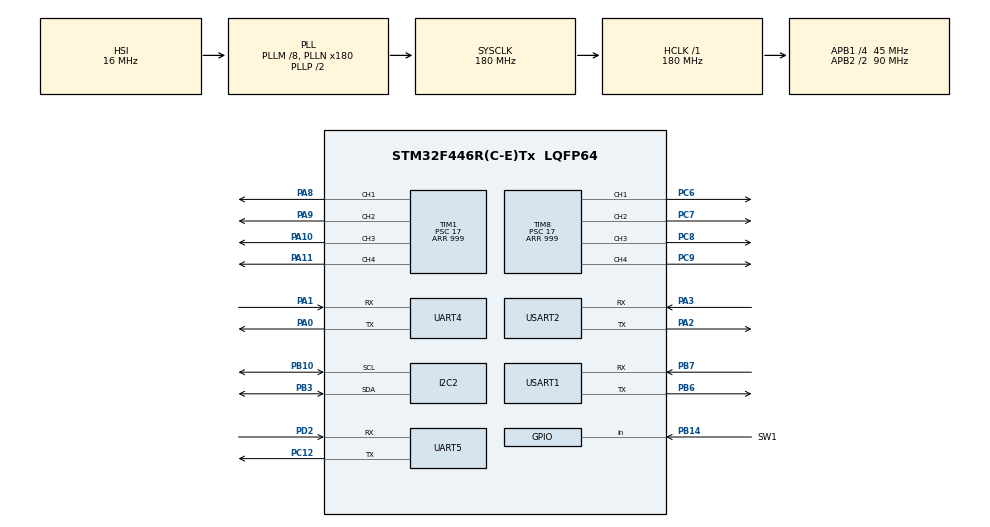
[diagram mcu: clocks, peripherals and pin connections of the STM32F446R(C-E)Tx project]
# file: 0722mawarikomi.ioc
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Mcu.Family=STM32F4
Mcu.Name=STM32F446R(C-E)Tx
Mcu.Package=LQFP64
NVIC.PriorityGroup=NVIC_PRIORITYGROUP_4
NVIC.TIM1_BRK_TIM9_IRQn=true\:0\:0\:false\:false\:true\:true\:true\:true
NVIC.TIM1_CC_IRQn=true\:0\:0\:false\:false\:true\:true\:true\:true
NVIC.TIM1_TRG_COM_TIM11_IRQn=true\:0\:0\:false\:false\:true\:true\:true\:true
NVIC.TIM1_UP_TIM10_IRQn=true\:0\:0\:false\:false\:true\:true\:true\:true
NVIC.TIM8_BRK_TIM12_IRQn=true\:0\:0\:false\:false\:true\:true\:true\:true
NVIC.TIM8_CC_IRQn=true\:0\:0\:false\:false\:true\:true\:true\:true
NVIC.TIM8_TRG_COM_TIM14_IRQn=true\:0\:0\:false\:false\:true\:true\:true\:true
NVIC.TIM8_UP_TIM13_IRQn=true\:0\:0\:false\:false\:true\:true\:true\:true
NVIC.UART4_IRQn=true\:0\:0\:false\:false\:true\:true\:true\:true
NVIC.UART5_IRQn=true\:0\:0\:false\:false\:true\:true\:true\:true
NVIC.USART1_IRQn=true\:0\:0\:false\:false\:true\:true\:true\:true
NVIC.USART2_IRQn=true\:0\:0\:false\:false\:true\:true\:true\:true
PA0-WKUP.Mode=Asynchronous
PA0-WKUP.Signal=UART4_TX
PA1.Mode=Asynchronous
PA1.Signal=UART4_RX
PA10.Signal=S_TIM1_CH3
PA11.Signal=S_TIM1_CH4
PA2.Mode=Asynchronous
PA2.Signal=USART2_TX
PA3.Mode=Asynchronous
PA3.Signal=USART2_RX
PA8.Signal=S_TIM1_CH1
PA9.Signal=S_TIM1_CH2
PB10.Mode=I2C
PB10.Signal=I2C2_SCL
PB14.GPIO_Label=SW1
PB14.Signal=GPIO_Input
PB3.Mode=I2C
PB3.Signal=I2C2_SDA
PB6.Mode=Asynchronous
PB6.Signal=USART1_TX
PB7.Mode=Asynchronous
PB7.Signal=USART1_RX
PC12.Mode=Asynchronous
PC12.Signal=UART5_TX
PC6.Signal=S_TIM8_CH1
PC7.Signal=S_TIM8_CH2
PC8.Signal=S_TIM8_CH3
PC9.Signal=S_TIM8_CH4
PD2.Mode=Asynchronous
PD2.Signal=UART5_RX
ProjectManager.HeapSize=0x200
ProjectManager.StackSize=0x400
ProjectManager.TargetToolchain=STM32CubeIDE
RCC.AHBFreq_Value=180000000
RCC.APB1CLKDivider=RCC_HCLK_DIV4
RCC.APB1Freq_Value=45000000
RCC.APB1TimFreq_Value=90000000
RCC.APB2CLKDivider=RCC_HCLK_DIV2
RCC.APB2Freq_Value=90000000
RCC.APB2TimFreq_Value=180000000
RCC.CortexFreq_Value=180000000
RCC.HCLKFreq_Value=180000000
RCC.PLLM=8
RCC.PLLN=180
RCC.SYSCLKFreq_VALUE=180000000
RCC.SYSCLKSource=RCC_SYSCLKSOURCE_PLLCLK
RCC.USBFreq_Value=180000000
RCC.VCOOutputFreq_Value=360000000
SH.S_TIM1_CH1.0=TIM1_CH1,PWM Generation1 CH1
SH.S_TIM1_CH2.0=TIM1_CH2,PWM Generation2 CH2
SH.S_TIM1_CH3.0=TIM1_CH3,PWM Generation3 CH3
SH.S_TIM1_CH4.0=TIM1_CH4,PWM Generation4 CH4
SH.S_TIM8_CH1.0=TIM8_CH1,PWM Generation1 CH1
SH.S_TIM8_CH2.0=TIM8_CH2,PWM Generation2 CH2
SH.S_TIM8_CH3.0=TIM8_CH3,PWM Generation3 CH3
SH.S_TIM8_CH4.0=TIM8_CH4,PWM Generation4 CH4
TIM1.Channel-PWM\ Generation1\ CH1=TIM_CHANNEL_1
TIM1.Channel-PWM\ Generation2\ CH2=TIM_CHANNEL_2
TIM1.Channel-PWM\ Generation3\ CH3=TIM_CHANNEL_3
TIM1.Channel-PWM\ Generation4\ CH4=TIM_CHANNEL_4
TIM1.OC1Preload_PWM=ENABLE
TIM1.Period=999
TIM1.Prescaler=17
TIM8.Channel-PWM\ Generation1\ CH1=TIM_CHANNEL_1
TIM8.Channel-PWM\ Generation2\ CH2=TIM_CHANNEL_2
TIM8.Channel-PWM\ Generation3\ CH3=TIM_CHANNEL_3
TIM8.Channel-PWM\ Generation4\ CH4=TIM_CHANNEL_4
TIM8.Period=999
TIM8.Prescaler=17
UART4.VirtualMode=Asynchronous
UART5.VirtualMode=Asynchronous
USART1.VirtualMode=VM_ASYNC
USART2.VirtualMode=VM_ASYNC
VP_TIM1_VS_ClockSourceINT.Mode=Internal
VP_TIM8_VS_ClockSourceINT.Mode=Internal
board=custom

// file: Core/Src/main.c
/* USER CODE BEGIN Header */
/**
  ******************************************************************************
  * @file           : main.c
  * @brief          : メインプログラム（ラインセンサー診断用カウンター出力版）
  ******************************************************************************
  */
/* USER CODE END Header */
#include "main.h"

/* USER CODE BEGIN Includes */
#include <stdio.h>
#include <math.h>
#include <string.h>
#include <stdlib.h>
#include "motor.h"
#include "sensor.h"
#include "attack.h"
/* USER CODE END Includes */

I2C_HandleTypeDef hi2c2;

TIM_HandleTypeDef htim1;
TIM_HandleTypeDef htim8;

UART_HandleTypeDef huart4;
UART_HandleTypeDef huart5;
UART_HandleTypeDef huart1;
UART_HandleTypeDef huart2;

/* USER CODE BEGIN PV */
static uint8_t sw_running = 0;
static uint8_t sw_prev    = 0;

// 💡 リンカエラー対策：変数たちの「本体（実体）」をここで定義します！
volatile uint8_t  attack_goal_color = 0; // 0:青, 1:黄

// 💡 ここに追加！個数を保持するグローバル変数の実体
volatile uint8_t  line_detected_count = 0;

// IR・ラインセンサーのUARTバッファの実体
uint8_t rx_buf[256];
volatile uint16_t rx_head = 0;
volatile uint16_t rx_tail = 0;

uint8_t line_rx_buf[256];
volatile uint16_t line_rx_head = 0;
volatile uint16_t line_rx_tail = 0;
uint8_t line_rx_byte = 0;

// 以下は main.c で使う他のファイルの変数の参照
extern volatile uint8_t  line_calib_state;
extern volatile uint32_t line_packet_count;
extern volatile float    ball_angle;
extern volatile float    ball_strength;
extern volatile uint8_t  line_on_line;
extern volatile float    line_angle;
extern volatile uint16_t line_sensor_bits;
extern volatile uint8_t  goal_blue_detected;
extern volatile float    goal_blue_angle;
extern volatile uint8_t  goal_yellow_detected;
extern volatile float    goal_yellow_angle;
extern volatile float    yaw_offset;

/* USER CODE END PV */

void SystemClock_Config(void);
static void MX_GPIO_Init(void);
static void MX_TIM1_Init(void);
static void MX_TIM8_Init(void);
static void MX_UART4_Init(void);
static void MX_USART1_UART_Init(void);
static void MX_I2C2_Init(void);
static void MX_UART5_Init(void);
static void MX_USART2_UART_Init(void);
/* USER CODE BEGIN PFP */
void BNO055_Init(void);
void Sensor_InitYawOffset(void);
void Sensor_Update(void);
float Sensor_GetOmega(float goal_angle, uint8_t goal_detected);
void Attack_Update(float omega);
void Drive_Omni(float angle, float speed, float omega);
float BNO055_GetYaw(void);
void Sensor_ResetYawOnly(void);
void Sensor_ResumeLineRx(void);
float Direct_Get_BNO055_Yaw(void);
/* USER CODE END PFP */

int main(void)
{

  /* MCU Configuration--------------------------------------------------------*/

  /* Reset of all peripherals, Initializes the Flash interface and the Systick. */
  HAL_Init();

  /* Configure the system clock */
  SystemClock_Config();

  /* Initialize all configured peripherals */
  MX_GPIO_Init();
  MX_TIM1_Init();
  MX_TIM8_Init();
  MX_UART4_Init();
  MX_USART1_UART_Init();
  MX_I2C2_Init();
  MX_UART5_Init();
  MX_USART2_UART_Init();
  /* USER CODE BEGIN 2 */
    HAL_TIM_PWM_Start(&htim1, TIM_CHANNEL_1);
    HAL_TIM_PWM_Start(&htim1, TIM_CHANNEL_2);
    HAL_TIM_PWM_Start(&htim1, TIM_CHANNEL_3);
    HAL_TIM_PWM_Start(&htim1, TIM_CHANNEL_4);
    HAL_TIM_PWM_Start(&htim8, TIM_CHANNEL_1);
    HAL_TIM_PWM_Start(&htim8, TIM_CHANNEL_2);
    HAL_TIM_PWM_Start(&htim8, TIM_CHANNEL_3);
    HAL_TIM_PWM_Start(&htim8, TIM_CHANNEL_4);

    BNO055_Init();
    Sensor_InitYawOffset();

    // ジャイロ ＆ ラインセンサー同期型キャリブレーション
    if (HAL_GPIO_ReadPin(GPIOB, GPIO_PIN_14) == GPIO_PIN_SET)
    {
        HAL_UART_Transmit(&huart4, (uint8_t*)">> STARTING MULTI-CALIBRATION <<\r\n", 35, 100);

        uint32_t last_log = 0;
        uint32_t sync_timeout = 0;

        // フェーズ1：黒面サンプリング
        HAL_UART_Transmit(&huart4, (uint8_t*)"[PHASE 1] Sampling BLACK... Keep on Black Floor.\r\n", 50, 100);
        HAL_UART_Transmit(&huart2, (uint8_t*)"CALIB AUTO BLACK\n", 17, 10);

        sync_timeout = HAL_GetTick();
        while (line_calib_state != 1)
        {
            Sensor_Update();
            if (HAL_GetTick() - sync_timeout > 1000) {
                HAL_UART_Transmit(&huart2, (uint8_t*)"CALIB AUTO BLACK\n", 17, 10);
                Sensor_ResumeLineRx();
                sync_timeout = HAL_GetTick();
            }
            HAL_Delay(5);
        }

        last_log = 0;
        while (line_calib_state == 1 || line_calib_state == 0)
        {
            Drive_Omni(0.0f, 0.0f, 0.0f);
            Sensor_ResetYawOnly();
            Sensor_Update();

            uint32_t current_time = HAL_GetTick();
            if (current_time - last_log > 500) {
                last_log = current_time;
                char lmsg[128];
                snprintf(lmsg, sizeof(lmsg), "... Line Sensor Sampling BLACK (State: %d) ...\r\n", line_calib_state);
                HAL_UART_Transmit(&huart4, (uint8_t*)lmsg, strlen(lmsg), 100);
            }
            HAL_Delay(5);
        }

        // フェーズ2：移動猶予（ロボットを白線へ）
        HAL_UART_Transmit(&huart4, (uint8_t*)"[PHASE 2] BLACK Done! -> MOVE TO WHITE LINE NOW.\r\n", 50, 100);
        HAL_UART_Transmit(&huart4, (uint8_t*)"👉 Press Button AGAIN when robot is on White Line! 👈\r\n", 57, 100);

        HAL_Delay(300);
        while (HAL_GPIO_ReadPin(GPIOB, GPIO_PIN_14) == GPIO_PIN_SET) {
            Sensor_Update();
            HAL_Delay(10);
        }

        last_log = 0;
        uint8_t white_triggered = 0;

        while (line_calib_state == 2)
        {
            Drive_Omni(0.0f, 0.0f, 0.0f);
            Sensor_Update();

            uint32_t current_time = HAL_GetTick();

            if (HAL_GPIO_ReadPin(GPIOB, GPIO_PIN_14) == GPIO_PIN_SET && !white_triggered)
            {
                HAL_Delay(50);
                if (HAL_GPIO_ReadPin(GPIOB, GPIO_PIN_14) == GPIO_PIN_SET)
                {
                    HAL_UART_Transmit(&huart2, (uint8_t*)"CALIB AUTO WHITE\n", 17, 10);
                    HAL_UART_Transmit(&huart4, (uint8_t*)"[MAIN] Sent CALIB AUTO WHITE! Waiting for Link...\r\n", 51, 100);
                    white_triggered = 1;

                    sync_timeout = HAL_GetTick();
                    while (line_calib_state != 3)
                    {
                        Sensor_Update();
                        if (HAL_GetTick() - sync_timeout > 1000) {
                            HAL_UART_Transmit(&huart2, (uint8_t*)"CALIB AUTO WHITE\n", 17, 10);
                            Sensor_ResumeLineRx();
                            sync_timeout = HAL_GetTick();
                        }
                        HAL_Delay(5);
                    }
                }
            }

            if (current_time - last_log > 500 && !white_triggered) {
                last_log = current_time;
                char lmsg[128];
                snprintf(lmsg, sizeof(lmsg), "... Waiting WHITE Trigger (State: %d) ...\r\n", line_calib_state);
                HAL_UART_Transmit(&huart4, (uint8_t*)lmsg, strlen(lmsg), 100);
            }
            HAL_Delay(5);
        }

        // フェーズ3：白線サンプリング
        HAL_UART_Transmit(&huart4, (uint8_t*)"[PHASE 3] Sampling WHITE... Keep Robot Still!\r\n", 48, 100);

        last_log = 0;
        while (line_calib_state == 3)
        {
            Drive_Omni(0.0f, 0.0f, 0.0f);
            Sensor_Update();

            uint32_t current_time = HAL_GetTick();
            if (current_time - last_log > 500) {
                last_log = current_time;
                char lmsg[128];
                snprintf(lmsg, sizeof(lmsg), "... Line Sensor Sampling WHITE (State: %d) ...\r\n", line_calib_state);
                HAL_UART_Transmit(&huart4, (uint8_t*)lmsg, strlen(lmsg), 100);
            }
            HAL_Delay(5);
        }

        HAL_UART_Transmit(&huart2, (uint8_t*)"CALIB SAVE\n", 11, 10);
        HAL_Delay(200);

        HAL_UART_Transmit(&huart4, (uint8_t*)">> All Calibrations Successfully Saved! <<\r\n", 44, 100);

        HAL_Delay(500);
        sw_prev = 0;
        sw_running = 0;
    }

    // メインループ突入直前にUARTをリフレッシュ
    Sensor_ResumeLineRx();

    uint32_t last_debug_tick = 0;
  /* USER CODE END 2 */

  /* Infinite loop */
  /* USER CODE BEGIN WHILE */
      while (1)
      {
            // 1. スイッチのチャタリング防止とモード切替
            uint8_t sw_state = HAL_GPIO_ReadPin(GPIOB, GPIO_PIN_14);
            if (sw_state == GPIO_PIN_SET && sw_prev == GPIO_PIN_RESET)
            {
                HAL_Delay(50); // スイッチ押下時のみの一時的なデリートなのでOK
                if (HAL_GPIO_ReadPin(GPIOB, GPIO_PIN_14) == GPIO_PIN_SET)
                {
                    sw_running = !sw_running;

                    char sw_msg[64];
                    snprintf(sw_msg, sizeof(sw_msg), ">>> MODE CHANGED: %s <<<\r\n", sw_running ? "RUN" : "STOP");
                    HAL_UART_Transmit(&huart4, (uint8_t*)sw_msg, strlen(sw_msg), 100);
                }
            }
            sw_prev = sw_state;

            // 2. センサー値の更新（ここを最速で回す！）
            Sensor_Update();

            // 3. 姿勢制御 omega の計算
            float omega;
            if (attack_goal_color == 0) // 0 = ATTACK_BLUE
            {
                omega = Sensor_GetOmega(goal_blue_angle, goal_blue_detected);
            }
            else
            {
                omega = Sensor_GetOmega(goal_yellow_angle, goal_yellow_detected);
            }

            // 4. モーターへの出力命令
            if (sw_running == 1)
            {
                Attack_Update(omega);
            }
            else
            {
                Drive_Omni(0.0f, 0.0f, 0.0f);
            }

            // ==========================================================
            // 💡 変更点：ロボットが停止している（STOP）時だけデバッグ出力を出す！
            // ==========================================================
            if (sw_running == 0)
            {
                uint32_t current_tick = HAL_GetTick();
                if (current_tick - last_debug_tick >= 100) // 停止時は100ms周期で十分
                {
                    last_debug_tick = current_tick;
                    char tx_out[256];
                    int len = 0;

                    // 💡重い I2C 直接取得はやめ、通常更新された ball_angle や BNO055_GetYaw() を使い回す
                    float gyro_yaw = BNO055_GetYaw();

                    char line_ang_str[8];
                    if (line_on_line) {
                        snprintf(line_ang_str, sizeof(line_ang_str), "%6.1f", line_angle);
                    } else {
                        snprintf(line_ang_str, sizeof(line_ang_str), "  NONE");
                    }

                    char line_bits_str[17];
                    for (int i = 0; i < 16; i++) {
                        line_bits_str[i] = (line_sensor_bits & (1u << i)) ? '1' : '0';
                    }
                    line_bits_str[16] = '\0';

                    len += snprintf(tx_out + len, sizeof(tx_out) - len,
                                    "[STOP ] IR_Ang:%6.1f | IR_Str:%5.1f | Yaw:%6.1f | Line_Ang:%s | Line:[%s]\r\n",
                                    ball_angle, ball_strength, gyro_yaw, line_ang_str, line_bits_str);

                    HAL_UART_Transmit(&huart4, (uint8_t *)tx_out, len, 100);
                }
            }

            // 💡 変更点：HAL_Delay(5); を完全に削除！
            // これによりマイコンが何もせずに待たされる時間がゼロになり、超高速でループします。

      }
    /* USER CODE END WHILE */

  }

void SystemClock_Config(void)
{
  RCC_OscInitTypeDef RCC_OscInitStruct = {0};
  RCC_ClkInitTypeDef RCC_ClkInitStruct = {0};

  /** Configure the main internal regulator output voltage
  */
  __HAL_RCC_PWR_CLK_ENABLE();
  __HAL_PWR_VOLTAGESCALING_CONFIG(PWR_REGULATOR_VOLTAGE_SCALE1);

  /** Initializes the RCC Oscillators according to the specified parameters
  * in the RCC_OscInitTypeDef structure.
  */
  RCC_OscInitStruct.OscillatorType = RCC_OSCILLATORTYPE_HSI;
  RCC_OscInitStruct.HSIState = RCC_HSI_ON;
  RCC_OscInitStruct.HSICalibrationValue = RCC_HSICALIBRATION_DEFAULT;
  RCC_OscInitStruct.PLL.PLLState = RCC_PLL_ON;
  RCC_OscInitStruct.PLL.PLLSource = RCC_PLLSOURCE_HSI;
  RCC_OscInitStruct.PLL.PLLM = 8;
  RCC_OscInitStruct.PLL.PLLN = 180;
  RCC_OscInitStruct.PLL.PLLP = RCC_PLLP_DIV2;
  RCC_OscInitStruct.PLL.PLLQ = 2;
  RCC_OscInitStruct.PLL.PLLR = 2;
  if (HAL_RCC_OscConfig(&RCC_OscInitStruct) != HAL_OK)
  {
    Error_Handler();
  }

  /** Activate the Over-Drive mode
  */
  if (HAL_PWREx_EnableOverDrive() != HAL_OK)
  {
    Error_Handler();
  }

  /** Initializes the CPU, AHB and APB buses clocks
  */
  RCC_ClkInitStruct.ClockType = RCC_CLOCKTYPE_HCLK|RCC_CLOCKTYPE_SYSCLK
                              |RCC_CLOCKTYPE_PCLK1|RCC_CLOCKTYPE_PCLK2;
  RCC_ClkInitStruct.SYSCLKSource = RCC_SYSCLKSOURCE_PLLCLK;
  RCC_ClkInitStruct.AHBCLKDivider = RCC_SYSCLK_DIV1;
  RCC_ClkInitStruct.APB1CLKDivider = RCC_HCLK_DIV4;
  RCC_ClkInitStruct.APB2CLKDivider = RCC_HCLK_DIV2;

  if (HAL_RCC_ClockConfig(&RCC_ClkInitStruct, FLASH_LATENCY_5) != HAL_OK)
  {
    Error_Handler();
  }
}

static void MX_I2C2_Init(void)
{

  hi2c2.Instance = I2C2;
  hi2c2.Init.ClockSpeed = 100000;
  hi2c2.Init.DutyCycle = I2C_DUTYCYCLE_2;
  hi2c2.Init.OwnAddress1 = 0;
  hi2c2.Init.AddressingMode = I2C_ADDRESSINGMODE_7BIT;
  hi2c2.Init.DualAddressMode = I2C_DUALADDRESS_DISABLE;
  hi2c2.Init.OwnAddress2 = 0;
  hi2c2.Init.GeneralCallMode = I2C_GENERALCALL_DISABLE;
  hi2c2.Init.NoStretchMode = I2C_NOSTRETCH_DISABLE;
  if (HAL_I2C_Init(&hi2c2) != HAL_OK)
  {
    Error_Handler();
  }

}

static void MX_TIM1_Init(void)
{

  TIM_ClockConfigTypeDef sClockSourceConfig = {0};
  TIM_MasterConfigTypeDef sMasterConfig = {0};
  TIM_OC_InitTypeDef sConfigOC = {0};
  TIM_BreakDeadTimeConfigTypeDef sBreakDeadTimeConfig = {0};

  htim1.Instance = TIM1;
  htim1.Init.Prescaler = 17;
  htim1.Init.CounterMode = TIM_COUNTERMODE_UP;
  htim1.Init.Period = 999;
  htim1.Init.ClockDivision = TIM_CLOCKDIVISION_DIV1;
  htim1.Init.RepetitionCounter = 0;
  htim1.Init.AutoReloadPreload = TIM_AUTORELOAD_PRELOAD_DISABLE;
  if (HAL_TIM_Base_Init(&htim1) != HAL_OK)
  {
    Error_Handler();
  }
  sClockSourceConfig.ClockSource = TIM_CLOCKSOURCE_INTERNAL;
  if (HAL_TIM_ConfigClockSource(&htim1, &sClockSourceConfig) != HAL_OK)
  {
    Error_Handler();
  }
  if (HAL_TIM_PWM_Init(&htim1) != HAL_OK)
  {
    Error_Handler();
  }
  sMasterConfig.MasterOutputTrigger = TIM_TRGO_RESET;
  sMasterConfig.MasterSlaveMode = TIM_MASTERSLAVEMODE_DISABLE;
  if (HAL_TIMEx_MasterConfigSynchronization(&htim1, &sMasterConfig) != HAL_OK)
  {
    Error_Handler();
  }
  sConfigOC.OCMode = TIM_OCMODE_PWM1;
  sConfigOC.Pulse = 0;
  sConfigOC.OCPolarity = TIM_OCPOLARITY_HIGH;
  sConfigOC.OCNPolarity = TIM_OCNPOLARITY_HIGH;
  sConfigOC.OCFastMode = TIM_OCFAST_DISABLE;
  sConfigOC.OCIdleState = TIM_OCIDLESTATE_RESET;
  sConfigOC.OCNIdleState = TIM_OCNIDLESTATE_RESET;
  if (HAL_TIM_PWM_ConfigChannel(&htim1, &sConfigOC, TIM_CHANNEL_1) != HAL_OK)
  {
    Error_Handler();
  }
  if (HAL_TIM_PWM_ConfigChannel(&htim1, &sConfigOC, TIM_CHANNEL_2) != HAL_OK)
  {
    Error_Handler();
  }
  if (HAL_TIM_PWM_ConfigChannel(&htim1, &sConfigOC, TIM_CHANNEL_3) != HAL_OK)
  {
    Error_Handler();
  }
  if (HAL_TIM_PWM_ConfigChannel(&htim1, &sConfigOC, TIM_CHANNEL_4) != HAL_OK)
  {
    Error_Handler();
  }
  sBreakDeadTimeConfig.OffStateRunMode = TIM_OSSR_DISABLE;
  sBreakDeadTimeConfig.OffStateIDLEMode = TIM_OSSI_DISABLE;
  sBreakDeadTimeConfig.LockLevel = TIM_LOCKLEVEL_OFF;
  sBreakDeadTimeConfig.DeadTime = 0;
  sBreakDeadTimeConfig.BreakState = TIM_BREAK_DISABLE;
  sBreakDeadTimeConfig.BreakPolarity = TIM_BREAKPOLARITY_HIGH;
  sBreakDeadTimeConfig.AutomaticOutput = TIM_AUTOMATICOUTPUT_DISABLE;
  if (HAL_TIMEx_ConfigBreakDeadTime(&htim1, &sBreakDeadTimeConfig) != HAL_OK)
  {
    Error_Handler();
  }
  HAL_TIM_MspPostInit(&htim1);

}

static void MX_TIM8_Init(void)
{

  TIM_ClockConfigTypeDef sClockSourceConfig = {0};
  TIM_MasterConfigTypeDef sMasterConfig = {0};
  TIM_OC_InitTypeDef sConfigOC = {0};
  TIM_BreakDeadTimeConfigTypeDef sBreakDeadTimeConfig = {0};

  htim8.Instance = TIM8;
  htim8.Init.Prescaler = 17;
  htim8.Init.CounterMode = TIM_COUNTERMODE_UP;
  htim8.Init.Period = 999;
  htim8.Init.ClockDivision = TIM_CLOCKDIVISION_DIV1;
  htim8.Init.RepetitionCounter = 0;
  htim8.Init.AutoReloadPreload = TIM_AUTORELOAD_PRELOAD_DISABLE;
  if (HAL_TIM_Base_Init(&htim8) != HAL_OK)
  {
    Error_Handler();
  }
  sClockSourceConfig.ClockSource = TIM_CLOCKSOURCE_INTERNAL;
  if (HAL_TIM_ConfigClockSource(&htim8, &sClockSourceConfig) != HAL_OK)
  {
    Error_Handler();
  }
  if (HAL_TIM_PWM_Init(&htim8) != HAL_OK)
  {
    Error_Handler();
  }
  sMasterConfig.MasterOutputTrigger = TIM_TRGO_RESET;
  sMasterConfig.MasterSlaveMode = TIM_MASTERSLAVEMODE_DISABLE;
  if (HAL_TIMEx_MasterConfigSynchronization(&htim8, &sMasterConfig) != HAL_OK)
  {
    Error_Handler();
  }
  sConfigOC.OCMode = TIM_OCMODE_PWM1;
  sConfigOC.Pulse = 0;
  sConfigOC.OCPolarity = TIM_OCPOLARITY_HIGH;
  sConfigOC.OCNPolarity = TIM_OCNPOLARITY_HIGH;
  sConfigOC.OCFastMode = TIM_OCFAST_DISABLE;
  sConfigOC.OCIdleState = TIM_OCIDLESTATE_RESET;
  sConfigOC.OCNIdleState = TIM_OCNIDLESTATE_RESET;
  if (HAL_TIM_PWM_ConfigChannel(&htim8, &sConfigOC, TIM_CHANNEL_1) != HAL_OK)
  {
    Error_Handler();
  }
  if (HAL_TIM_PWM_ConfigChannel(&htim8, &sConfigOC, TIM_CHANNEL_2) != HAL_OK)
  {
    Error_Handler();
  }
  if (HAL_TIM_PWM_ConfigChannel(&htim8, &sConfigOC, TIM_CHANNEL_3) != HAL_OK)
  {
    Error_Handler();
  }
  if (HAL_TIM_PWM_ConfigChannel(&htim8, &sConfigOC, TIM_CHANNEL_4) != HAL_OK)
  {
    Error_Handler();
  }
  sBreakDeadTimeConfig.OffStateRunMode = TIM_OSSR_DISABLE;
  sBreakDeadTimeConfig.OffStateIDLEMode = TIM_OSSI_DISABLE;
  sBreakDeadTimeConfig.LockLevel = TIM_LOCKLEVEL_OFF;
  sBreakDeadTimeConfig.DeadTime = 0;
  sBreakDeadTimeConfig.BreakState = TIM_BREAK_DISABLE;
  sBreakDeadTimeConfig.BreakPolarity = TIM_BREAKPOLARITY_HIGH;
  sBreakDeadTimeConfig.AutomaticOutput = TIM_AUTOMATICOUTPUT_DISABLE;
  if (HAL_TIMEx_ConfigBreakDeadTime(&htim8, &sBreakDeadTimeConfig) != HAL_OK)
  {
    Error_Handler();
  }
  HAL_TIM_MspPostInit(&htim8);

}

static void MX_UART4_Init(void)
{

  huart4.Instance = UART4;
  huart4.Init.BaudRate = 115200;
  huart4.Init.WordLength = UART_WORDLENGTH_8B;
  huart4.Init.StopBits = UART_STOPBITS_1;
  huart4.Init.Parity = UART_PARITY_NONE;
  huart4.Init.Mode = UART_MODE_TX_RX;
  huart4.Init.HwFlowCtl = UART_HWCONTROL_NONE;
  huart4.Init.OverSampling = UART_OVERSAMPLING_16;
  if (HAL_UART_Init(&huart4) != HAL_OK)
  {
    Error_Handler();
  }

}

static void MX_UART5_Init(void)
{

  huart5.Instance = UART5;
  huart5.Init.BaudRate = 115200;
  huart5.Init.WordLength = UART_WORDLENGTH_8B;
  huart5.Init.StopBits = UART_STOPBITS_1;
  huart5.Init.Parity = UART_PARITY_NONE;
  huart5.Init.Mode = UART_MODE_TX_RX;
  huart5.Init.HwFlowCtl = UART_HWCONTROL_NONE;
  huart5.Init.OverSampling = UART_OVERSAMPLING_16;
  if (HAL_UART_Init(&huart5) != HAL_OK)
  {
    Error_Handler();
  }

}

static void MX_USART1_UART_Init(void)
{

  huart1.Instance = USART1;
  huart1.Init.BaudRate = 115200;
  huart1.Init.WordLength = UART_WORDLENGTH_8B;
  huart1.Init.StopBits = UART_STOPBITS_1;
  huart1.Init.Parity = UART_PARITY_NONE;
  huart1.Init.Mode = UART_MODE_TX_RX;
  huart1.Init.HwFlowCtl = UART_HWCONTROL_NONE;
  huart1.Init.OverSampling = UART_OVERSAMPLING_16;
  if (HAL_UART_Init(&huart1) != HAL_OK)
  {
    Error_Handler();
  }

}

static void MX_USART2_UART_Init(void)
{

  huart2.Instance = USART2;
  huart2.Init.BaudRate = 115200;
  huart2.Init.WordLength = UART_WORDLENGTH_8B;
  huart2.Init.StopBits = UART_STOPBITS_1;
  huart2.Init.Parity = UART_PARITY_NONE;
  huart2.Init.Mode = UART_MODE_TX_RX;
  huart2.Init.HwFlowCtl = UART_HWCONTROL_NONE;
  huart2.Init.OverSampling = UART_OVERSAMPLING_16;
  if (HAL_UART_Init(&huart2) != HAL_OK)
  {
    Error_Handler();
  }

}

static void MX_GPIO_Init(void)
{
  GPIO_InitTypeDef GPIO_InitStruct = {0};

  /* GPIO Ports Clock Enable */
  __HAL_RCC_GPIOA_CLK_ENABLE();
  __HAL_RCC_GPIOB_CLK_ENABLE();
  __HAL_RCC_GPIOC_CLK_ENABLE();
  __HAL_RCC_GPIOD_CLK_ENABLE();

  /*Configure GPIO pin : SW1_Pin */
  GPIO_InitStruct.Pin = SW1_Pin;
  GPIO_InitStruct.Mode = GPIO_MODE_INPUT;
  GPIO_InitStruct.Pull = GPIO_NOPULL;
  HAL_GPIO_Init(SW1_GPIO_Port, &GPIO_InitStruct);

}

/* USER CODE BEGIN 4 */
// 💡 main.cのI2C設定(hi2c2)を使って直接ジャイロから角度を奪い取る緊急関数
float Direct_Get_BNO055_Yaw(void) {
    uint8_t data[2];
    int16_t raw_yaw = 0;

    // I2C2ポートを直接叩いてYawレジスタ(0x1A)から2バイト読む
    HAL_StatusTypeDef status = HAL_I2C_Mem_Read(&hi2c2, (0x28 << 1), 0x1A, I2C_MEMADD_SIZE_8BIT, data, 2, 10);
    if (status == HAL_OK) {
        raw_yaw = (int16_t)((data[1] << 8) | data[0]);
        float yaw_deg = (float)raw_yaw / 16.0f;
        if (yaw_deg > 180.0f) yaw_deg -= 360.0f;
        return yaw_deg;
    }
    return -999.0f; // 通信エラー時は -999 を返す
}
/* USER CODE END 4 */

void Error_Handler(void)
{
  __disable_irq();
  while (1)
  {
  }
}
